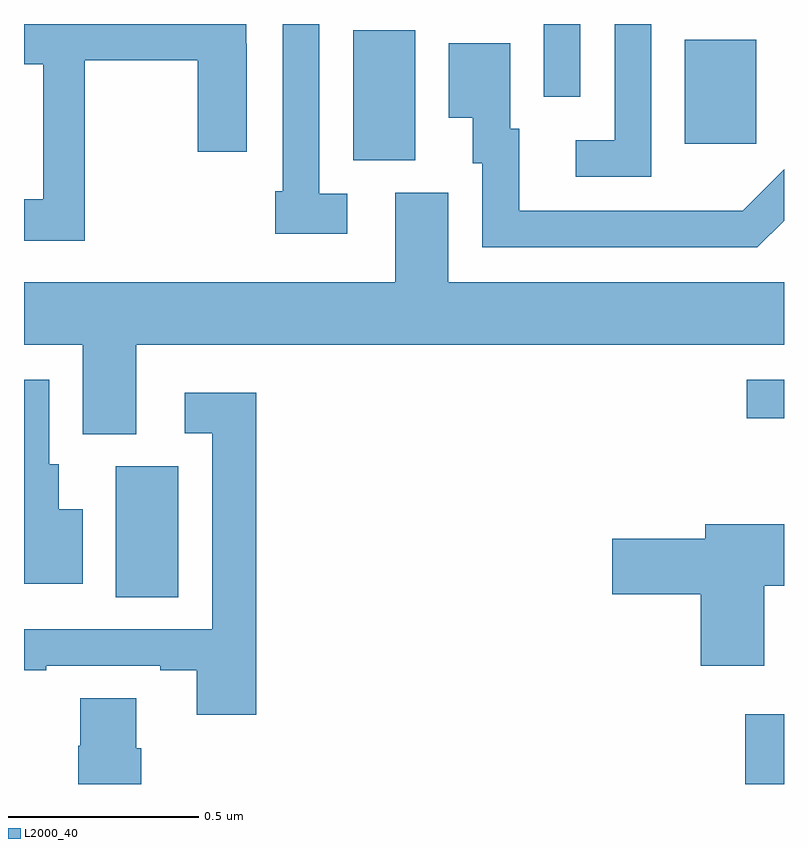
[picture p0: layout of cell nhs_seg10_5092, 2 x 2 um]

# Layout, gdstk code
import gdstk
lib = gdstk.Library(unit=1e-6, precision=1e-09)
def R(c, l, rs):  # rectangles x0, y0, x1, y1
    for r in rs: c.add(gdstk.rectangle(r[:2], r[2:], *l))
def P(c, l, *ps):  # polygons
    for p in ps: c.add(gdstk.Polygon(p, *l))
L2000_40 = (2000, 40)

nhs_seg10_5092 = lib.new_cell('nhs_seg10_5092')
R(nhs_seg10_5092, L2000_40, [(175.898,1292.5,176,1292.683), (174.242,1292.992,174.406,1293.336), (175.902,1293.463,176,1293.564), (174.866,1294.141,175.03,1294.484), (175.739,1294.185,175.927,1294.459), (175.368,1294.308,175.464,1294.5)])
P(nhs_seg10_5092, L2000_40, [(175.65,1294.5),(175.554,1294.5),(175.554,1294.194),(175.452,1294.194),(175.452,1294.098),(175.65,1294.098)],
  [(174.16,1294.405),(174.457,1294.405),(174.457,1294.164),(174.586,1294.164),(174.586,1294.448),(174.585,1294.448),(174.585,1294.5),(174,1294.5),(174,1294.394),(174.05,1294.394),(174.05,1294.039),(174,1294.039),(174,1293.93),(174.16,1293.93)],
  [(174.85,1294.053),(174.777,1294.053),(174.777,1294.5),(174.681,1294.5),(174.681,1294.06),(174.661,1294.06),(174.661,1293.948),(174.85,1293.948)],
  [(176,1293.982),(176,1294.118),(175.891,1294.009),(175.787,1294.009),(175.787,1294.008),(175.303,1294.008),(175.303,1294.224),(175.279,1294.224),(175.279,1294.45),(175.118,1294.45),(175.118,1294.253),(175.181,1294.253),(175.181,1294.134),(175.206,1294.134),(175.206,1293.912),(175.93,1293.912)],
  [(174.295,1293.656),(176,1293.656),(176,1293.82),(175.117,1293.82),(175.117,1294.056),(174.977,1294.056),(174.977,1293.82),(174,1293.82),(174,1293.656),(174.155,1293.656),(174.155,1293.421),(174.295,1293.421)],
  [(174.154,1293.223),(174.091,1293.223),(174.091,1293.342),(174.066,1293.342),(174.066,1293.564),(174,1293.564),(174,1293.027),(174.154,1293.027)],
  [(174.611,1293.529),(174.423,1293.529),(174.423,1293.423),(174.495,1293.423),(174.495,1292.907),(174,1292.907),(174,1292.799),(174.059,1292.799),(174.059,1292.811),(174.359,1292.811),(174.359,1292.799),(174.455,1292.799),(174.455,1292.682),(174.611,1292.682)],
  [(175.948,1293.022),(176,1293.022),(176,1293.184),(175.793,1293.184),(175.793,1293.146),(175.548,1293.146),(175.548,1292.999),(175.781,1292.999),(175.781,1292.811),(175.948,1292.811)],
  [(174.308,1292.594),(174.295,1292.594),(174.295,1292.726),(174.148,1292.726),(174.148,1292.601),(174.143,1292.601),(174.143,1292.5),(174.308,1292.5)])

lib.write_gds('nhs_seg10_5092.gds')
